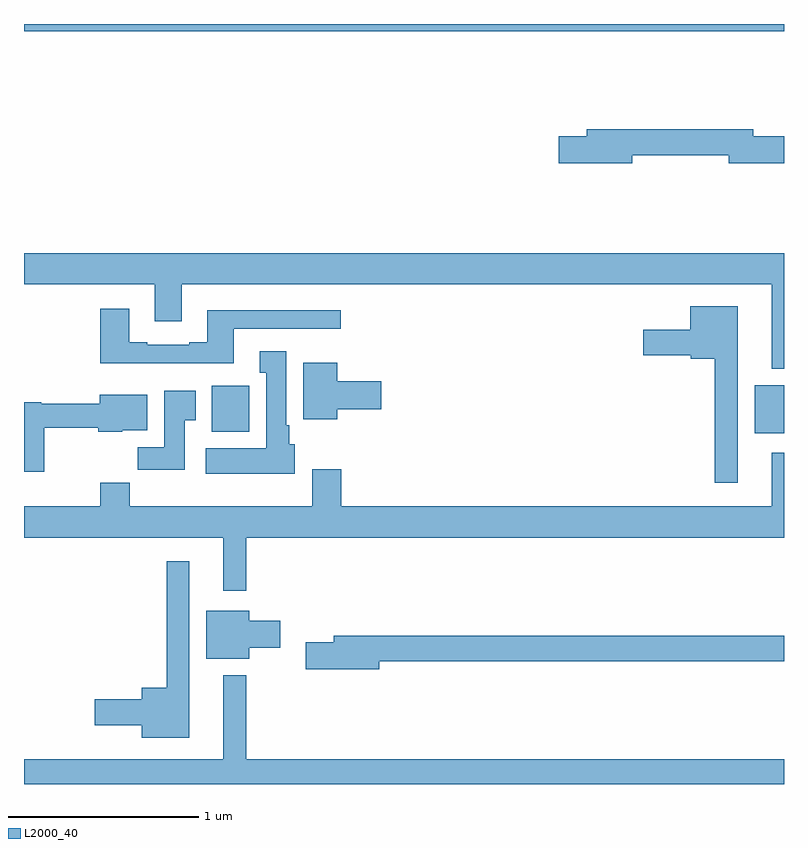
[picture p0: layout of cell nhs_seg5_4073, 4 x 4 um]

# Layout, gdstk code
import gdstk
lib = gdstk.Library(unit=1e-6, precision=1e-09)
def R(c, l, rs):  # rectangles x0, y0, x1, y1
    for r in rs: c.add(gdstk.rectangle(r[:2], r[2:], *l))
def P(c, l, *ps):  # polygons
    for p in ps: c.add(gdstk.Polygon(p, *l))
L2000_40 = (2000, 40)

nhs_seg5_4073 = lib.new_cell('nhs_seg5_4073')
R(nhs_seg5_4073, L2000_40, [(354.845,854.645,355,854.899), (351.989,854.654,352.186,854.896), (351,856.76,355,856.799)])
P(nhs_seg5_4073, L2000_40, [(354.202,856.108),(354.71,856.108),(354.71,856.066),(355,856.066),(355,856.208),(354.838,856.208),(354.838,856.244),(353.963,856.244),(353.963,856.208),(353.814,856.208),(353.814,856.066),(354.202,856.066)],
  [(355,855.592),(351,855.592),(351,855.428),(351.689,855.428),(351.689,855.234),(351.829,855.234),(351.829,855.428),(354.935,855.428),(354.935,854.984),(355,854.984)],
  [(354.757,855.313),(354.506,855.313),(354.506,855.19),(354.258,855.19),(354.258,855.056),(354.51,855.056),(354.51,855.038),(354.636,855.038),(354.636,854.385),(354.757,854.385)],
  [(352.105,855.195),(352.666,855.195),(352.666,855.292),(351.965,855.292),(351.965,855.124),(351.869,855.124),(351.869,855.111),(351.649,855.111),(351.649,855.124),(351.553,855.124),(351.553,855.301),(351.401,855.301),(351.401,855.014),(352.105,855.014)],
  [(352.426,854.586),(352.396,854.586),(352.396,854.686),(352.381,854.686),(352.381,855.076),(352.241,855.076),(352.241,854.963),(352.274,854.963),(352.274,854.566),(351.957,854.566),(351.957,854.432),(352.426,854.432)],
  [(352.648,854.771),(352.879,854.771),(352.879,854.918),(352.648,854.918),(352.648,855.016),(352.469,855.016),(352.469,854.72),(352.648,854.72)],
  [(351.847,854.713),(351.904,854.713),(351.904,854.869),(351.737,854.869),(351.737,854.572),(351.598,854.572),(351.598,854.454),(351.847,854.454)],
  [(351.107,854.673),(351.391,854.673),(351.391,854.654),(351.516,854.654),(351.516,854.66),(351.649,854.66),(351.649,854.848),(351.398,854.848),(351.398,854.801),(351.09,854.801),(351.09,854.809),(351,854.809),(351,854.442),(351.107,854.442)],
  [(352.171,854.096),(355,854.096),(355,854.542),(354.935,854.542),(354.935,854.26),(352.67,854.26),(352.67,854.455),(352.517,854.455),(352.517,854.26),(351.557,854.26),(351.557,854.384),(351.401,854.384),(351.401,854.26),(351,854.26),(351,854.096),(352.049,854.096),(352.049,853.815),(352.171,853.815)],
  [(351.871,853.972),(351.75,853.972),(351.75,853.306),(351.62,853.306),(351.62,853.244),(351.372,853.244),(351.372,853.109),(351.62,853.109),(351.62,853.043),(351.871,853.043)],
  [(352.186,853.517),(352.348,853.517),(352.348,853.659),(352.186,853.659),(352.186,853.711),(351.959,853.711),(351.959,853.457),(352.186,853.457)],
  [(352.87,853.444),(355,853.444),(355,853.58),(352.631,853.58),(352.631,853.544),(352.482,853.544),(352.482,853.402),(352.87,853.402)],
  [(355,852.928),(352.171,852.928),(352.171,853.372),(352.049,853.372),(352.049,852.928),(351,852.928),(351,852.799),(355,852.799)])

lib.write_gds('nhs_seg5_4073.gds')
